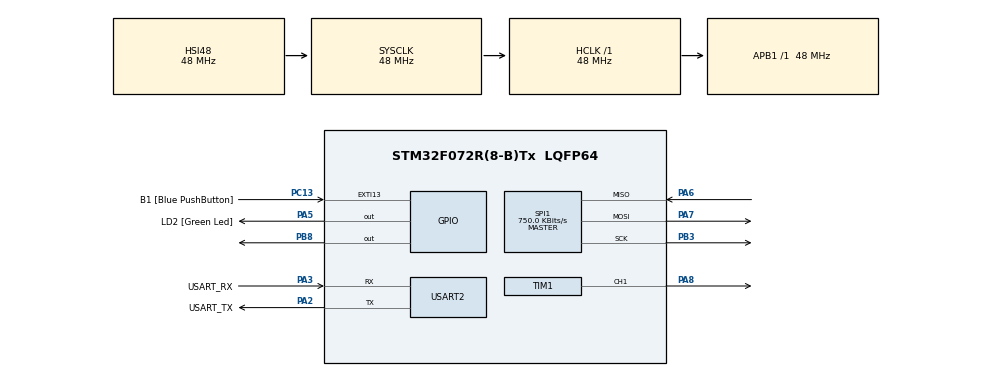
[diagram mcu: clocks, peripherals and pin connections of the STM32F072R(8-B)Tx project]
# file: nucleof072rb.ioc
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Mcu.Family=STM32F0
Mcu.Name=STM32F072R(8-B)Tx
Mcu.Package=LQFP64
PA13.GPIO_Label=TMS
PA13.Mode=Serial_Wire
PA13.Signal=SYS_SWDIO
PA14.GPIO_Label=TCK
PA14.Mode=Serial_Wire
PA14.Signal=SYS_SWCLK
PA2.GPIO_Label=USART_TX
PA2.GPIO_Mode=GPIO_MODE_AF_PP
PA2.GPIO_PuPd=GPIO_NOPULL
PA2.GPIO_Speed=GPIO_SPEED_FREQ_LOW
PA2.Mode=Asynchronous
PA2.Signal=USART2_TX
PA3.GPIO_Label=USART_RX
PA3.GPIO_Mode=GPIO_MODE_AF_PP
PA3.GPIO_PuPd=GPIO_NOPULL
PA3.GPIO_Speed=GPIO_SPEED_FREQ_LOW
PA3.Mode=Asynchronous
PA3.Signal=USART2_RX
PA5.GPIO_Label=LD2 [Green Led]
PA5.GPIO_Mode=GPIO_MODE_OUTPUT_PP
PA5.GPIO_PuPd=GPIO_NOPULL
PA5.GPIO_Speed=GPIO_SPEED_FREQ_LOW
PA5.Signal=GPIO_Output
PA6.Mode=Full_Duplex_Master
PA6.Signal=SPI1_MISO
PA7.Mode=Full_Duplex_Master
PA7.Signal=SPI1_MOSI
PA8.Signal=S_TIM1_CH1
PB3.Mode=Full_Duplex_Master
PB3.Signal=SPI1_SCK
PB8.Signal=GPIO_Output
PC13.GPIO_Label=B1 [Blue PushButton]
PC13.GPIO_ModeDefaultEXTI=GPIO_MODE_IT_FALLING
PC13.Signal=GPXTI13
PC14-OSC32_IN.Mode=LSE-External-Oscillator
PC14-OSC32_IN.Signal=RCC_OSC32_IN
PC15-OSC32_OUT.Mode=LSE-External-Oscillator
PC15-OSC32_OUT.Signal=RCC_OSC32_OUT
PF0-OSC_IN.Mode=HSE-External-Clock-Source
PF0-OSC_IN.Signal=RCC_OSC_IN
PF1-OSC_OUT.Signal=RCC_OSC_OUT
ProjectManager.HeapSize=0x200
ProjectManager.StackSize=0x400
ProjectManager.TargetToolchain=STM32CubeIDE
RCC.AHBFreq_Value=48000000
RCC.APB1Freq_Value=48000000
RCC.APB1TimFreq_Value=48000000
RCC.FLatency-AdvancedSettings=FLASH_LATENCY_1
RCC.HCLKFreq_Value=48000000
RCC.PLLDivider=RCC_PREDIV_DIV2
RCC.PLLMUL=RCC_PLL_MUL12
RCC.PREFETCH_ENABLE-AdvancedSettings=1
RCC.SYSCLKFreq_VALUE=48000000
RCC.SYSCLKSource=RCC_SYSCLKSOURCE_HSI48
SH.S_TIM1_CH1.0=TIM1_CH1,PWM Generation1 CH1
SPI1.BaudRatePrescaler=SPI_BAUDRATEPRESCALER_64
SPI1.CalculateBaudRate=750.0 KBits/s
SPI1.DataSize=SPI_DATASIZE_8BIT
SPI1.Direction=SPI_DIRECTION_2LINES
SPI1.Mode=SPI_MODE_MASTER
SPI1.VirtualType=VM_MASTER
TIM1.Channel-PWM\ Generation1\ CH1=TIM_CHANNEL_1
TIM1.Period=63999
TIM1.Prescaler=14
TIM1.Pulse-PWM\ Generation1\ CH1=4800
USART2.VirtualMode=VM_ASYNC
USART2.VirtualMode-Asynchronous=VM_ASYNC
board=NUCLEO-F072RB

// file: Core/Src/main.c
/* USER CODE BEGIN Header */
/**
  ******************************************************************************
  * @file           : main.c
  * @brief          : Main program body
  ******************************************************************************
  * @attention
  *
  * <h2><center>&copy; Copyright (c) 2021 STMicroelectronics.
  * All rights reserved.</center></h2>
  *
  * This software component is licensed by ST under BSD 3-Clause license,
  * the "License"; You may not use this file except in compliance with the
  * License. You may obtain a copy of the License at:
  *                        opensource.org/licenses/BSD-3-Clause
  *
  ******************************************************************************
  */
/* USER CODE END Header */
#include "main.h"
#include "spi.h"
#include "tim.h"
#include "usart.h"
#include "gpio.h"

/* USER CODE BEGIN PD */
#define ADC_CS_PORT GPIOB
#define ADC_CS_PIN  GPIO_PIN_8
/* USER CODE END PD */

/* USER CODE BEGIN PV */
uint8_t tx[3] = {0x01, 0x80, 0x00}; // Start, SGL/DIFF + CH0, dummy
uint8_t rx[3] = {0};
/* USER CODE END PV */

void SystemClock_Config(void);

/* USER CODE BEGIN 0 */
static inline void cs_low(void){ HAL_GPIO_WritePin(ADC_CS_PORT, ADC_CS_PIN, GPIO_PIN_RESET); }
static inline void cs_high(void){ HAL_GPIO_WritePin(ADC_CS_PORT, ADC_CS_PIN, GPIO_PIN_SET); }

static uint16_t mcp3004_read(uint8_t ch){
  uint8_t tx[3] = {0x01, (uint8_t)(0x80 | (ch << 4)), 0x00}; // start, single-ended+channel, dummy
  uint8_t rx[3] = {0};

  cs_low();
  HAL_StatusTypeDef st = HAL_SPI_TransmitReceive(&hspi1, tx, rx, 3, HAL_MAX_DELAY);
  cs_high();
  if (st != HAL_OK) return 0;

  return (uint16_t)(((rx[1] & 0x03) << 8) | rx[2]);  // 10-bit value: 0..1023
}
/* USER CODE END 0 */

int main(void)
{

  /* MCU Configuration--------------------------------------------------------*/

  /* Reset of all peripherals, Initializes the Flash interface and the Systick. */
  HAL_Init();

  /* Configure the system clock */
  SystemClock_Config();

  /* Initialize all configured peripherals */
  MX_GPIO_Init();
  MX_USART2_UART_Init();
  MX_SPI1_Init();
  MX_TIM1_Init();
  /* USER CODE BEGIN 2 */
  HAL_TIM_PWM_Start(&htim1, TIM_CHANNEL_1);
  /* USER CODE END 2 */

  /* Infinite loop */
  /* USER CODE BEGIN WHILE */
  while (1)
  {
	  // Read pot on CH0; change the 0 to 1/2/3 if your board uses another channel
	   uint16_t adc = mcp3004_read(0);        // 0..1023

	   // Map 0..1023 -> 1000..2000 counts (1–2 ms) with 1 µs timer tick
	   uint16_t pulse = 3200 + (adc * 3200) / 1023;
	   if (pulse < 3200) pulse = 3200;
	   if (pulse > 6400) pulse = 6400;

	   __HAL_TIM_SET_COMPARE(&htim1, TIM_CHANNEL_1, pulse);  // update PWM duty

	   HAL_Delay(10);
    /* USER CODE END WHILE */

  }
}

void SystemClock_Config(void)
{
  RCC_OscInitTypeDef RCC_OscInitStruct = {0};
  RCC_ClkInitTypeDef RCC_ClkInitStruct = {0};
  RCC_PeriphCLKInitTypeDef PeriphClkInit = {0};

  /** Initializes the RCC Oscillators according to the specified parameters
  * in the RCC_OscInitTypeDef structure.
  */
  RCC_OscInitStruct.OscillatorType = RCC_OSCILLATORTYPE_HSI48;
  RCC_OscInitStruct.HSI48State = RCC_HSI48_ON;
  RCC_OscInitStruct.PLL.PLLState = RCC_PLL_NONE;
  if (HAL_RCC_OscConfig(&RCC_OscInitStruct) != HAL_OK)
  {
    Error_Handler();
  }
  /** Initializes the CPU, AHB and APB buses clocks
  */
  RCC_ClkInitStruct.ClockType = RCC_CLOCKTYPE_HCLK|RCC_CLOCKTYPE_SYSCLK
                              |RCC_CLOCKTYPE_PCLK1;
  RCC_ClkInitStruct.SYSCLKSource = RCC_SYSCLKSOURCE_HSI48;
  RCC_ClkInitStruct.AHBCLKDivider = RCC_SYSCLK_DIV1;
  RCC_ClkInitStruct.APB1CLKDivider = RCC_HCLK_DIV1;

  if (HAL_RCC_ClockConfig(&RCC_ClkInitStruct, FLASH_LATENCY_1) != HAL_OK)
  {
    Error_Handler();
  }
  PeriphClkInit.PeriphClockSelection = RCC_PERIPHCLK_USART2;
  PeriphClkInit.Usart2ClockSelection = RCC_USART2CLKSOURCE_PCLK1;
  if (HAL_RCCEx_PeriphCLKConfig(&PeriphClkInit) != HAL_OK)
  {
    Error_Handler();
  }
}

void Error_Handler(void)
{
  __disable_irq();
  while (1)
  {
  }
}

/************************ (C) COPYRIGHT STMicroelectronics *****END OF FILE****/
